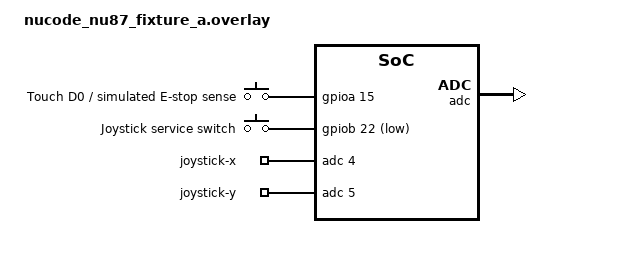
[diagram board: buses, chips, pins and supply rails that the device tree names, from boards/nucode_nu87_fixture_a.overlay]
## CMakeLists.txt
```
# SPDX-License-Identifier: Apache-2.0

cmake_minimum_required(VERSION 3.20.0)
find_package(Zephyr REQUIRED HINTS $ENV{ZEPHYR_BASE})
project(microwallaby_nu87_io_bringup)

target_include_directories(app PRIVATE include)

target_sources(app PRIVATE
  src/app_store.c
  src/behavior_sm.c
  src/diag_stats.c
  src/health_log.c
  src/indicator.c
  src/input_filter.c
  src/main.c
  src/safety_ctrl.c
  src/sensor_fast.c
)
```

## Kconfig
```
# SPDX-License-Identifier: Apache-2.0

mainmenu "microWallaby NU-87 I/O bring-up"

source "Kconfig.zephyr"

menu "microWallaby bring-up options"

choice MW_FIXTURE
	prompt "Connected hardware fixture"
	default MW_FIXTURE_COMBINED

config MW_FIXTURE_COMBINED
	bool "Touch D0 and joystick"
	help
	  Touch D0 is connected to PA15. Joystick VRX, VRY and SW are
	  connected to PB1/ADC4, PB2/ADC5 and PB22 respectively.

config MW_FIXTURE_TOUCH_ANALOG
	bool "Touch A0 characterization"
	help
	  Touch A0 is connected to PB1/ADC4 and D0 to PA15. Disconnect the
	  joystick before using this fixture.

endchoice

config MW_DEBOUNCE_SAMPLES
	int "Consecutive samples required for a digital input change"
	range 1 10
	default 3

config MW_ADC_RESOLUTION
	int "ADC resolution"
	range 12 12
	default 12

config MW_JOYSTICK_MIN
	int "Initial joystick minimum"
	range 0 4095
	default 0

config MW_JOYSTICK_CENTER
	int "Initial joystick center"
	range 1 4094
	default 2048

config MW_JOYSTICK_MAX
	int "Initial joystick maximum"
	range 1 4095
	default 4095

config MW_JOYSTICK_DEADZONE
	int "Initial joystick dead-zone in ADC counts"
	range 0 1024
	default 205

endmenu
```

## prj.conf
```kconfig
CONFIG_GPIO=y
CONFIG_ADC=y
CONFIG_PINCTRL=y

CONFIG_CONSOLE=y
CONFIG_SERIAL=y
CONFIG_UART_CONSOLE=y
CONFIG_PRINTK=y

CONFIG_LOG=y
CONFIG_LOG_MODE_DEFERRED=y
CONFIG_LOG_DEFAULT_LEVEL=3

CONFIG_THREAD_NAME=y
CONFIG_ASSERT=y
CONFIG_MAIN_STACK_SIZE=2048
CONFIG_SYSTEM_WORKQUEUE_STACK_SIZE=1024
```

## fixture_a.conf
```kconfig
CONFIG_MW_FIXTURE_COMBINED=y
```

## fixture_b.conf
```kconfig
CONFIG_MW_FIXTURE_TOUCH_ANALOG=y
```

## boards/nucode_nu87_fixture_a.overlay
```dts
/*
 * microWallaby fixture A: touch D0 + joystick
 *
 * SPDX-License-Identifier: Apache-2.0
 */

#include <zephyr/dt-bindings/gpio/gpio.h>
#include <zephyr/dt-bindings/input/input-event-codes.h>
#include <zephyr/dt-bindings/pinctrl/amebad-pinctrl.h>

/ {
	aliases {
		mw-touch-d0 = &mw_touch_d0;
		mw-joystick-sw = &mw_joystick_sw;
	};

	mw_inputs {
		compatible = "gpio-keys";
		polling-mode;

		/*
		 * GPIO_ACTIVE_HIGH is deliberately explicit. Characterize the module's
		 * raw D0 polarity before the acceptance run and change this flag to
		 * GPIO_ACTIVE_LOW when the measured module requires it.
		 */
		mw_touch_d0: touch_d0 {
			gpios = <&gpioa 15 GPIO_ACTIVE_HIGH>;
			label = "Touch D0 / simulated E-stop sense";
			zephyr,code = <INPUT_BTN_TOUCH>;
		};

		/* No external resistor is currently fitted: polling only. */
		mw_joystick_sw: joystick_sw {
			gpios = <&gpiob 22 (GPIO_PULL_UP | GPIO_ACTIVE_LOW)>;
			label = "Joystick service switch";
			zephyr,code = <INPUT_BTN_THUMBL>;
		};
	};

	zephyr,user {
		io-channels = <&adc 4>, <&adc 5>;
		io-channel-names = "joystick-x", "joystick-y";
	};
};

&pinctrl {
	mw_adc_default: mw_adc_default {
		group1 {
			pinmux = <AMEBA_PINMUX('B', 1, AMEBA_GPIO)>,
				 <AMEBA_PINMUX('B', 2, AMEBA_GPIO)>;
			digital-input-disable;
		};
	};
};

&adc {
	pinctrl-0 = <&mw_adc_default>;
	pinctrl-names = "default";
	status = "okay";
};
```

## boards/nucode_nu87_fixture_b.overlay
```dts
/*
 * microWallaby fixture B: touch A0 characterization
 *
 * SPDX-License-Identifier: Apache-2.0
 */

#include <zephyr/dt-bindings/gpio/gpio.h>
#include <zephyr/dt-bindings/input/input-event-codes.h>
#include <zephyr/dt-bindings/pinctrl/amebad-pinctrl.h>

/ {
	aliases {
		mw-touch-d0 = &mw_touch_d0;
	};

	mw_inputs {
		compatible = "gpio-keys";
		polling-mode;

		mw_touch_d0: touch_d0 {
			gpios = <&gpioa 15 GPIO_ACTIVE_HIGH>;
			label = "Touch D0 reference";
			zephyr,code = <INPUT_BTN_TOUCH>;
		};
	};

	zephyr,user {
		io-channels = <&adc 4>;
		io-channel-names = "touch-a0";
	};
};

&pinctrl {
	mw_adc_default: mw_adc_default {
		group1 {
			pinmux = <AMEBA_PINMUX('B', 1, AMEBA_GPIO)>;
			digital-input-disable;
		};
	};
};

&adc {
	pinctrl-0 = <&mw_adc_default>;
	pinctrl-names = "default";
	status = "okay";
};
```

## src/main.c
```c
/* SPDX-License-Identifier: Apache-2.0 */

#include <zephyr/kernel.h>
#include <zephyr/logging/log.h>

#include <microwallaby/app_store.h>
#include <microwallaby/behavior_sm.h>
#include <microwallaby/diag_stats.h>
#include <microwallaby/health_log.h>
#include <microwallaby/indicator.h>
#include <microwallaby/safety_ctrl.h>
#include <microwallaby/sensor_fast.h>

LOG_MODULE_REGISTER(mw_bringup, LOG_LEVEL_INF);

#define SENSOR_PERIOD_MS 10
#define SAFETY_PERIOD_MS 20
#define BEHAVIOR_PERIOD_MS 50
#define INDICATOR_PERIOD_MS 20
#define HEALTH_PERIOD_MS 1000

#define SENSOR_PRIORITY 3
#define SAFETY_PRIORITY 2
#define INDICATOR_PRIORITY 4
#define BEHAVIOR_PRIORITY 5
#define HEALTH_PRIORITY 7

#define WORKER_STACK_SIZE 2048

K_THREAD_STACK_DEFINE(sensor_stack, WORKER_STACK_SIZE);
K_THREAD_STACK_DEFINE(safety_stack, WORKER_STACK_SIZE);
K_THREAD_STACK_DEFINE(behavior_stack, WORKER_STACK_SIZE);
K_THREAD_STACK_DEFINE(indicator_stack, WORKER_STACK_SIZE);
K_THREAD_STACK_DEFINE(health_stack, WORKER_STACK_SIZE);

static struct k_thread sensor_thread_data;
static struct k_thread safety_thread_data;
static struct k_thread behavior_thread_data;
static struct k_thread indicator_thread_data;
static struct k_thread health_thread_data;
static struct mw_safety_ctrl safety_ctx;
static bool indicator_available;

static void sleep_periodic(int64_t *deadline_ms, int32_t period_ms)
{
	int64_t now_ms;

	*deadline_ms += period_ms;
	now_ms = k_uptime_get();
	if (now_ms > *deadline_ms) {
		mw_stats_increment(MW_STAT_DEADLINE_MISS);
		*deadline_ms = now_ms;
		return;
	}

	k_sleep(K_MSEC(*deadline_ms - now_ms));
}

static void sensor_thread(void *unused1, void *unused2, void *unused3)
{
	int64_t deadline_ms = k_uptime_get();

	ARG_UNUSED(unused1);
	ARG_UNUSED(unused2);
	ARG_UNUSED(unused3);

	while (true) {
		struct mw_input_snapshot input;

		if (mw_sensor_fast_sample(&input) < 0) {
			input.input_ok = false;
		}
		mw_store_publish_input(&input);
		mw_stats_increment(MW_STAT_SENSOR_TICK);
		sleep_periodic(&deadline_ms, SENSOR_PERIOD_MS);
	}
}

static void safety_thread(void *unused1, void *unused2, void *unused3)
{
	int64_t deadline_ms = k_uptime_get();

	ARG_UNUSED(unused1);
	ARG_UNUSED(unused2);
	ARG_UNUSED(unused3);

	while (true) {
		struct mw_input_snapshot input = {0};
		struct mw_control_snapshot control;

		if (!mw_store_read_input(&input)) {
			input.input_ok = false;
		}
		control = mw_safety_ctrl_step(&safety_ctx, &input, k_uptime_get());
		mw_store_publish_control(&control);
		mw_stats_increment(MW_STAT_SAFETY_TICK);
		sleep_periodic(&deadline_ms, SAFETY_PERIOD_MS);
	}
}

static void behavior_thread(void *unused1, void *unused2, void *unused3)
{
	struct mw_behavior_sm behavior;
	int64_t deadline_ms = k_uptime_get();

	ARG_UNUSED(unused1);
	ARG_UNUSED(unused2);
	ARG_UNUSED(unused3);
	mw_behavior_sm_init(&behavior);

	while (true) {
		struct mw_control_snapshot control = {
			.fault = MW_FAULT_INPUT_UNAVAILABLE,
			.fault_latched = true,
		};
		enum mw_robot_state state;

		(void)mw_store_read_control(&control);
		state = mw_behavior_sm_step(&behavior, &control);
		mw_store_publish_state(state);
		mw_stats_increment(MW_STAT_BEHAVIOR_TICK);
		sleep_periodic(&deadline_ms, BEHAVIOR_PERIOD_MS);
	}
}

static void indicator_thread(void *unused1, void *unused2, void *unused3)
{
	int64_t deadline_ms = k_uptime_get();

	ARG_UNUSED(unused1);
	ARG_UNUSED(unused2);
	ARG_UNUSED(unused3);

	while (true) {
		struct mw_control_snapshot control = {
			.fault = MW_FAULT_INPUT_UNAVAILABLE,
			.fault_latched = true,
		};
		enum mw_robot_state state = mw_store_read_state();

		if (!mw_store_read_control(&control) || control.fault_latched) {
			state = MW_STATE_FAULT;
		}
		if (indicator_available && mw_indicator_apply(state) < 0) {
			mw_stats_increment(MW_STAT_GPIO_ERROR);
			indicator_available = false;
		}
		sleep_periodic(&deadline_ms, INDICATOR_PERIOD_MS);
	}
}

static void health_thread(void *unused1, void *unused2, void *unused3)
{
	int64_t deadline_ms = k_uptime_get();

	ARG_UNUSED(unused1);
	ARG_UNUSED(unused2);
	ARG_UNUSED(unused3);

	while (true) {
		struct mw_input_snapshot input = {0};
		struct mw_control_snapshot control = {0};
		struct mw_runtime_stats stats = mw_stats_snapshot();

		(void)mw_store_read_input(&input);
		(void)mw_store_read_control(&control);
		mw_health_log_report(&input, &control, mw_store_read_state(), &stats);
		sleep_periodic(&deadline_ms, HEALTH_PERIOD_MS);
	}
}

int main(void)
{
	struct mw_input_snapshot initial_input;
	struct mw_control_snapshot initial_control;
	int ret;

	LOG_INF("microWallaby NU-87 I/O bring-up starting");
	ret = mw_sensor_fast_init();
	if (ret < 0) {
		LOG_ERR("Input initialization failed: %d", ret);
	}

	/* Evaluate and publish a fail-closed input before any cosmetic self-test. */
	if (mw_sensor_fast_sample(&initial_input) < 0) {
		initial_input.input_ok = false;
	}
	mw_store_publish_input(&initial_input);
	mw_safety_ctrl_init(&safety_ctx);
	initial_control = mw_safety_ctrl_step(&safety_ctx, &initial_input, k_uptime_get());
	mw_store_publish_control(&initial_control);

	ret = mw_indicator_init();
	if (ret < 0) {
		LOG_ERR("RGB initialization failed; monitoring will continue: %d", ret);
		mw_stats_increment(MW_STAT_GPIO_ERROR);
	} else {
		indicator_available = true;
		ret = initial_control.fault_latched ? mw_indicator_apply(MW_STATE_FAULT) :
						      mw_indicator_self_test();
		if (ret < 0) {
			LOG_ERR("RGB startup indication failed; monitoring will continue: %d", ret);
			mw_stats_increment(MW_STAT_GPIO_ERROR);
			indicator_available = false;
		}
	}

	/* Refresh the snapshot after the blocking RGB test before periodic work starts. */
	if (mw_sensor_fast_sample(&initial_input) < 0) {
		initial_input.input_ok = false;
	}
	mw_store_publish_input(&initial_input);
	initial_control = mw_safety_ctrl_step(&safety_ctx, &initial_input, k_uptime_get());
	mw_store_publish_control(&initial_control);
	if (indicator_available && initial_control.fault_latched &&
	    mw_indicator_apply(MW_STATE_FAULT) < 0) {
		LOG_ERR("RGB fault indication failed; monitoring will continue");
		mw_stats_increment(MW_STAT_GPIO_ERROR);
		indicator_available = false;
	}

	/* Arm formal measurement windows immediately before periodic sampling. */
	if (initial_input.input_ok) {
		mw_diag_stats_init(initial_input.profile, k_uptime_get());
	}

	k_thread_create(&sensor_thread_data, sensor_stack,
			K_THREAD_STACK_SIZEOF(sensor_stack), sensor_thread,
			NULL, NULL, NULL, SENSOR_PRIORITY, 0, K_NO_WAIT);
	k_thread_name_set(&sensor_thread_data, "sensor_fast");

	k_thread_create(&safety_thread_data, safety_stack,
			K_THREAD_STACK_SIZEOF(safety_stack), safety_thread,
			NULL, NULL, NULL, SAFETY_PRIORITY, 0, K_NO_WAIT);
	k_thread_name_set(&safety_thread_data, "safety_ctrl");

	k_thread_create(&behavior_thread_data, behavior_stack,
			K_THREAD_STACK_SIZEOF(behavior_stack), behavior_thread,
			NULL, NULL, NULL, BEHAVIOR_PRIORITY, 0, K_NO_WAIT);
	k_thread_name_set(&behavior_thread_data, "behavior_sm");

	k_thread_create(&indicator_thread_data, indicator_stack,
			K_THREAD_STACK_SIZEOF(indicator_stack), indicator_thread,
			NULL, NULL, NULL, INDICATOR_PRIORITY, 0, K_NO_WAIT);
	k_thread_name_set(&indicator_thread_data, "indicator");

	k_thread_create(&health_thread_data, health_stack,
			K_THREAD_STACK_SIZEOF(health_stack), health_thread,
			NULL, NULL, NULL, HEALTH_PRIORITY, 0, K_NO_WAIT);
	k_thread_name_set(&health_thread_data, "health_log");

	return 0;
}
```

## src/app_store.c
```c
/* SPDX-License-Identifier: Apache-2.0 */

#include <zephyr/kernel.h>
#include <zephyr/sys/atomic.h>

#include <microwallaby/app_store.h>

K_MUTEX_DEFINE(input_lock);
K_MUTEX_DEFINE(control_lock);

static struct mw_input_snapshot latest_input;
static struct mw_control_snapshot latest_control;
static bool input_ready;
static bool control_ready;
static atomic_t current_state;
static atomic_t counters[MW_STAT_COUNT];

void mw_store_publish_input(const struct mw_input_snapshot *input)
{
	k_mutex_lock(&input_lock, K_FOREVER);
	latest_input = *input;
	input_ready = true;
	k_mutex_unlock(&input_lock);
}

bool mw_store_read_input(struct mw_input_snapshot *input)
{
	bool ready;

	k_mutex_lock(&input_lock, K_FOREVER);
	*input = latest_input;
	ready = input_ready;
	k_mutex_unlock(&input_lock);
	return ready;
}

void mw_store_publish_control(const struct mw_control_snapshot *control)
{
	k_mutex_lock(&control_lock, K_FOREVER);
	latest_control = *control;
	control_ready = true;
	k_mutex_unlock(&control_lock);
}

bool mw_store_read_control(struct mw_control_snapshot *control)
{
	bool ready;

	k_mutex_lock(&control_lock, K_FOREVER);
	*control = latest_control;
	ready = control_ready;
	k_mutex_unlock(&control_lock);
	return ready;
}

void mw_store_publish_state(enum mw_robot_state state)
{
	atomic_set(&current_state, state);
}

enum mw_robot_state mw_store_read_state(void)
{
	return (enum mw_robot_state)atomic_get(&current_state);
}

void mw_stats_increment(enum mw_stat_id id)
{
	if (id < MW_STAT_COUNT) {
		atomic_inc(&counters[id]);
	}
}

struct mw_runtime_stats mw_stats_snapshot(void)
{
	return (struct mw_runtime_stats){
		.sensor_ticks = (uint32_t)atomic_get(&counters[MW_STAT_SENSOR_TICK]),
		.safety_ticks = (uint32_t)atomic_get(&counters[MW_STAT_SAFETY_TICK]),
		.behavior_ticks = (uint32_t)atomic_get(&counters[MW_STAT_BEHAVIOR_TICK]),
		.adc_errors = (uint32_t)atomic_get(&counters[MW_STAT_ADC_ERROR]),
		.gpio_errors = (uint32_t)atomic_get(&counters[MW_STAT_GPIO_ERROR]),
		.deadline_misses = (uint32_t)atomic_get(&counters[MW_STAT_DEADLINE_MISS]),
	};
}
```

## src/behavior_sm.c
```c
/* SPDX-License-Identifier: Apache-2.0 */

#include <microwallaby/behavior_sm.h>

void mw_behavior_sm_init(struct mw_behavior_sm *ctx)
{
	ctx->state = MW_STATE_BOOT;
}
enum mw_robot_state mw_behavior_sm_step(struct mw_behavior_sm *ctx,
						const struct mw_control_snapshot *control)
{
	if (control->fault_latched) {
		ctx->state = MW_STATE_FAULT;
		return ctx->state;
	}

	switch (ctx->state) {
	case MW_STATE_BOOT:
		ctx->state = MW_STATE_SELF_TEST;
		break;
	case MW_STATE_SELF_TEST:
	case MW_STATE_FAULT:
		ctx->state = MW_STATE_SAFE_IDLE;
		break;
	case MW_STATE_SAFE_IDLE:
	case MW_STATE_MANUAL_EMU:
		ctx->state = control->manual_requested ? MW_STATE_MANUAL_EMU :
								 MW_STATE_SAFE_IDLE;
		break;
	default:
		ctx->state = MW_STATE_FAULT;
		break;
	}

	return ctx->state;
}

const char *mw_state_name(enum mw_robot_state state)
{
	switch (state) {
	case MW_STATE_BOOT:
		return "BOOT";
	case MW_STATE_SELF_TEST:
		return "SELF_TEST";
	case MW_STATE_SAFE_IDLE:
		return "SAFE_IDLE";
	case MW_STATE_MANUAL_EMU:
		return "MANUAL_EMU";
	case MW_STATE_FAULT:
		return "FAULT";
	default:
		return "UNKNOWN";
	}
}
```

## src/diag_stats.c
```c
/* SPDX-License-Identifier: Apache-2.0 */

#include <limits.h>
#include <stddef.h>
#include <string.h>

#include <zephyr/kernel.h>
#include <zephyr/sys/util.h>

#include <microwallaby/diag_stats.h>

struct digital_accumulator {
	uint32_t transitions;
	uint32_t assertions;
	uint32_t releases;
	uint32_t max_inactive_ms;
	int64_t inactive_since_ms;
	bool active;
	bool observed;
};

/* Welford mean and M2 use eight fractional bits; no floating point is needed. */
struct axis_accumulator {
	uint32_t samples;
	uint16_t minimum;
	uint16_t maximum;
	int64_t mean_q8;
	uint64_t m2_q8;
};

struct diag_accumulator {
	enum mw_fixture_profile profile;
	uint32_t sample_attempts;
	uint32_t sample_successes;
	uint32_t input_errors;
	uint32_t adc_errors;
	uint32_t gpio_errors;
	struct digital_accumulator touch;
	struct digital_accumulator service_switch;
	struct axis_accumulator axis_primary;
	struct axis_accumulator axis_secondary;
	struct axis_accumulator center_primary;
	struct axis_accumulator center_secondary;
	int64_t center_started_ms;
	bool center_complete;
	int64_t boot_idle_started_ms;
	uint32_t boot_idle_touch_assertions;
	uint32_t boot_idle_switch_assertions;
	enum mw_diag_a0_phase a0_phase;
	uint16_t a0_progress;
	int64_t a0_started_ms;
	struct mw_diag_a0_window_stats a0_idle;
	struct mw_diag_a0_window_stats a0_touched;
	bool a0_processing;
};

static struct k_spinlock diag_lock;
static struct diag_accumulator diag;
static uint16_t a0_samples[MW_DIAG_A0_WINDOW_SAMPLES];

static void increment_saturated(uint32_t *value)
{
	if (*value < UINT32_MAX) {
		(*value)++;
	}
}

static uint32_t elapsed_ms(int64_t start_ms, int64_t now_ms)
{
	uint64_t elapsed;

	if (start_ms < 0 || now_ms <= start_ms) {
		return 0U;
	}

	elapsed = (uint64_t)(now_ms - start_ms);
	return elapsed > UINT32_MAX ? UINT32_MAX : (uint32_t)elapsed;
}

static void update_digital(struct digital_accumulator *accumulator, bool active,
			   bool changed, int64_t now_ms)
{
	if (!accumulator->observed) {
		accumulator->observed = true;
		accumulator->active = active;
		accumulator->inactive_since_ms = active ? -1 : now_ms;
		return;
	}

	if (!changed) {
		return;
	}

	increment_saturated(&accumulator->transitions);
	accumulator->active = active;
	if (active) {
		uint32_t idle_ms = elapsed_ms(accumulator->inactive_since_ms, now_ms);

		increment_saturated(&accumulator->assertions);
		if (idle_ms > accumulator->max_inactive_ms) {
			accumulator->max_inactive_ms = idle_ms;
		}
		accumulator->inactive_since_ms = -1;
	} else {
		increment_saturated(&accumulator->releases);
		accumulator->inactive_since_ms = now_ms;
	}
}

static void update_axis(struct axis_accumulator *axis, uint16_t value)
{
	int64_t sample_q8 = (int64_t)value << 8;

	if (axis->samples == 0U) {
		axis->samples = 1U;
		axis->minimum = value;
		axis->maximum = value;
		axis->mean_q8 = sample_q8;
		return;
	}

	if (value < axis->minimum) {
		axis->minimum = value;
	}
	if (value > axis->maximum) {
		axis->maximum = value;
	}

	if (axis->samples < UINT32_MAX) {
		uint32_t count = axis->samples + 1U;
		int64_t delta_q8 = sample_q8 - axis->mean_q8;
		int64_t delta2_q8;
		uint64_t term_q8;

		axis->mean_q8 += delta_q8 / (int64_t)count;
		delta2_q8 = sample_q8 - axis->mean_q8;
		term_q8 = (uint64_t)((delta_q8 * delta2_q8) >> 8);
		if (UINT64_MAX - axis->m2_q8 < term_q8) {
			axis->m2_q8 = UINT64_MAX;
		} else {
			axis->m2_q8 += term_q8;
		}
		axis->samples = count;
	}
}

static uint32_t integer_sqrt(uint64_t value)
{
	uint64_t result = 0U;
	uint64_t bit = 1ULL << 62;

	while (bit > value) {
		bit >>= 2;
	}

	while (bit != 0U) {
		if (value >= result + bit) {
			value -= result + bit;
			result = (result >> 1) + bit;
		} else {
			result >>= 1;
		}
		bit >>= 2;
	}

	return result > UINT32_MAX ? UINT32_MAX : (uint32_t)result;
}

static struct mw_diag_axis_stats axis_snapshot(const struct axis_accumulator *axis)
{
	struct mw_diag_axis_stats result = {
		.samples = axis->samples,
	};

	if (axis->samples == 0U) {
		return result;
	}

	result.minimum = axis->minimum;
	result.maximum = axis->maximum;
	result.mean = (uint16_t)((axis->mean_q8 + 128) >> 8);
	if (axis->samples > 1U) {
		uint64_t variance_q8 = axis->m2_q8 / (axis->samples - 1U);
		uint64_t variance = (variance_q8 + 128U) >> 8;
		uint32_t stddev = integer_sqrt(variance);

		result.noise_stddev = (uint16_t)MIN(stddev, UINT16_MAX);
	}

	return result;
}

static void swap_u16(uint16_t *left, uint16_t *right)
{
	uint16_t value = *left;

	*left = *right;
	*right = value;
}

static void heap_sift_down(uint16_t *values, size_t root, size_t end)
{
	while ((root * 2U) + 1U < end) {
		size_t child = (root * 2U) + 1U;

		if (child + 1U < end && values[child] < values[child + 1U]) {
			child++;
		}
		if (values[root] >= values[child]) {
			return;
		}
		swap_u16(&values[root], &values[child]);
		root = child;
	}
}

static void heap_sort_u16(uint16_t *values, size_t count)
{
	for (size_t root = count / 2U; root > 0U;) {
		root--;
		heap_sift_down(values, root, count);
	}

	for (size_t end = count; end > 1U;) {
		end--;
		swap_u16(&values[0], &values[end]);
		heap_sift_down(values, 0U, end);
	}
}

static void record_a0_sample(uint16_t value, bool touch_active, int64_t now_ms)
{
	enum mw_diag_a0_phase completed_phase = MW_DIAG_A0_DISABLED;
	uint32_t span_ms = 0U;
	k_spinlock_key_t key = k_spin_lock(&diag_lock);
	bool expected_active = diag.a0_phase == MW_DIAG_A0_TOUCHED;

	if ((diag.a0_phase != MW_DIAG_A0_IDLE &&
	     diag.a0_phase != MW_DIAG_A0_TOUCHED) || diag.a0_processing) {
		k_spin_unlock(&diag_lock, key);
		return;
	}

	if (touch_active != expected_active) {
		diag.a0_progress = 0U;
		diag.a0_started_ms = -1;
		k_spin_unlock(&diag_lock, key);
		return;
	}

	if (diag.a0_progress == 0U) {
		diag.a0_started_ms = now_ms;
	}
	if (diag.a0_progress < MW_DIAG_A0_WINDOW_SAMPLES) {
		a0_samples[diag.a0_progress++] = value;
	}

	span_ms = elapsed_ms(diag.a0_started_ms, now_ms);
	if (diag.a0_progress == MW_DIAG_A0_WINDOW_SAMPLES && span_ms >= 5000U) {
		completed_phase = diag.a0_phase;
		diag.a0_processing = true;
	}
	k_spin_unlock(&diag_lock, key);

	if (completed_phase == MW_DIAG_A0_DISABLED) {
		return;
	}

	/* One bounded sort per idle/touched window, outside the spin lock. */
	heap_sort_u16(a0_samples, MW_DIAG_A0_WINDOW_SAMPLES);
	struct mw_diag_a0_window_stats result = {
		.samples = MW_DIAG_A0_WINDOW_SAMPLES,
		.span_ms = span_ms,
		.minimum = a0_samples[0],
		.median = (uint16_t)(((uint32_t)a0_samples[249] + a0_samples[250]) / 2U),
		.maximum = a0_samples[MW_DIAG_A0_WINDOW_SAMPLES - 1U],
		.complete = true,
	};

	key = k_spin_lock(&diag_lock);
	if (completed_phase == MW_DIAG_A0_IDLE) {
		diag.a0_idle = result;
		diag.a0_phase = MW_DIAG_A0_TOUCHED;
	} else {
		diag.a0_touched = result;
		diag.a0_phase = MW_DIAG_A0_COMPLETE;
	}
	diag.a0_progress = 0U;
	diag.a0_started_ms = -1;
	diag.a0_processing = false;
	k_spin_unlock(&diag_lock, key);
}

void mw_diag_stats_init(enum mw_fixture_profile profile, int64_t now_ms)
{
	k_spinlock_key_t key = k_spin_lock(&diag_lock);

	memset(&diag, 0, sizeof(diag));
	diag.profile = profile;
	diag.boot_idle_started_ms = now_ms;
	diag.center_started_ms = -1;
	diag.touch.inactive_since_ms = -1;
	diag.service_switch.inactive_since_ms = -1;
	diag.a0_started_ms = -1;
	diag.a0_phase = profile == MW_FIXTURE_TOUCH_ANALOG ? MW_DIAG_A0_IDLE
								     : MW_DIAG_A0_DISABLED;
	k_spin_unlock(&diag_lock, key);
}

void mw_diag_stats_record_sample_attempt(void)
{
	k_spinlock_key_t key = k_spin_lock(&diag_lock);

	increment_saturated(&diag.sample_attempts);
	k_spin_unlock(&diag_lock, key);
}

void mw_diag_stats_record_sample_success(void)
{
	k_spinlock_key_t key = k_spin_lock(&diag_lock);

	increment_saturated(&diag.sample_successes);
	k_spin_unlock(&diag_lock, key);
}

void mw_diag_stats_record_error(enum mw_diag_error_source source)
{
	k_spinlock_key_t key = k_spin_lock(&diag_lock);

	increment_saturated(&diag.input_errors);
	if (source == MW_DIAG_ERROR_ADC) {
		increment_saturated(&diag.adc_errors);
	} else if (source == MW_DIAG_ERROR_GPIO) {
		increment_saturated(&diag.gpio_errors);
	}
	k_spin_unlock(&diag_lock, key);
}

void mw_diag_stats_record_touch(bool active, bool changed, int64_t now_ms)
{
	k_spinlock_key_t key = k_spin_lock(&diag_lock);
	bool first_active = !diag.touch.observed && active;

	update_digital(&diag.touch, active, changed, now_ms);
	if (diag.profile == MW_FIXTURE_COMBINED &&
	    elapsed_ms(diag.boot_idle_started_ms, now_ms) < MW_DIAG_BOOT_IDLE_MS &&
	    (first_active || (changed && active))) {
		increment_saturated(&diag.boot_idle_touch_assertions);
	}
	k_spin_unlock(&diag_lock, key);
}

void mw_diag_stats_record_service_switch(bool active, bool changed, int64_t now_ms)
{
	k_spinlock_key_t key = k_spin_lock(&diag_lock);
	bool first_active = !diag.service_switch.observed && active;

	update_digital(&diag.service_switch, active, changed, now_ms);
	if (diag.profile == MW_FIXTURE_COMBINED &&
	    elapsed_ms(diag.boot_idle_started_ms, now_ms) < MW_DIAG_BOOT_IDLE_MS &&
	    (first_active || (changed && active))) {
		increment_saturated(&diag.boot_idle_switch_assertions);
	}
	k_spin_unlock(&diag_lock, key);
}

void mw_diag_stats_record_adc(enum mw_diag_adc_channel channel, uint16_t value,
			      bool touch_active, int64_t now_ms)
{
	k_spinlock_key_t key = k_spin_lock(&diag_lock);
	bool record_a0 = diag.profile == MW_FIXTURE_TOUCH_ANALOG &&
			 channel == MW_DIAG_ADC_PRIMARY;
	struct axis_accumulator *center_axis = channel == MW_DIAG_ADC_PRIMARY ?
		&diag.center_primary : &diag.center_secondary;

	if (channel == MW_DIAG_ADC_PRIMARY) {
		update_axis(&diag.axis_primary, value);
	} else {
		update_axis(&diag.axis_secondary, value);
	}

	/* Freeze the first five-second neutral window before any stick sweep. */
	if (diag.profile == MW_FIXTURE_COMBINED && !diag.center_complete) {
		if (diag.center_started_ms < 0) {
			diag.center_started_ms = now_ms;
		}
		if (center_axis->samples < MW_DIAG_CENTER_WINDOW_SAMPLES) {
			update_axis(center_axis, value);
		}
		if (diag.center_primary.samples == MW_DIAG_CENTER_WINDOW_SAMPLES &&
		    diag.center_secondary.samples == MW_DIAG_CENTER_WINDOW_SAMPLES &&
		    elapsed_ms(diag.center_started_ms, now_ms) >=
			    MW_DIAG_CENTER_WINDOW_MS) {
			diag.center_complete = true;
		}
	}
	k_spin_unlock(&diag_lock, key);

	if (record_a0) {
		record_a0_sample(value, touch_active, now_ms);
	}
}

void mw_diag_stats_snapshot(struct mw_diag_snapshot *snapshot, int64_t now_ms)
{
	k_spinlock_key_t key = k_spin_lock(&diag_lock);
	uint32_t touch_inactive_ms = diag.touch.active ? 0U :
		elapsed_ms(diag.touch.inactive_since_ms, now_ms);
	uint32_t switch_inactive_ms = diag.service_switch.active ? 0U :
		elapsed_ms(diag.service_switch.inactive_since_ms, now_ms);
	uint32_t boot_idle_elapsed_ms = elapsed_ms(diag.boot_idle_started_ms, now_ms);
	uint32_t center_elapsed_ms = elapsed_ms(diag.center_started_ms, now_ms);

	*snapshot = (struct mw_diag_snapshot){
		.sample_attempts = diag.sample_attempts,
		.sample_successes = diag.sample_successes,
		.input_errors = diag.input_errors,
		.adc_errors = diag.adc_errors,
		.gpio_errors = diag.gpio_errors,
		.touch = {
			.transitions = diag.touch.transitions,
			.assertions = diag.touch.assertions,
			.releases = diag.touch.releases,
			.inactive_ms = touch_inactive_ms,
			.max_inactive_ms = MAX(diag.touch.max_inactive_ms,
					       touch_inactive_ms),
			.active = diag.touch.active,
			.observed = diag.touch.observed,
		},
		.service_switch = {
			.transitions = diag.service_switch.transitions,
			.assertions = diag.service_switch.assertions,
			.releases = diag.service_switch.releases,
			.inactive_ms = switch_inactive_ms,
			.max_inactive_ms = MAX(diag.service_switch.max_inactive_ms,
					       switch_inactive_ms),
			.active = diag.service_switch.active,
			.observed = diag.service_switch.observed,
		},
		.axis_primary = axis_snapshot(&diag.axis_primary),
		.axis_secondary = axis_snapshot(&diag.axis_secondary),
		.center_primary = axis_snapshot(&diag.center_primary),
		.center_secondary = axis_snapshot(&diag.center_secondary),
		.center_elapsed_ms = MIN(center_elapsed_ms, MW_DIAG_CENTER_WINDOW_MS),
		.center_complete = diag.center_complete,
		.boot_idle_elapsed_ms = MIN(boot_idle_elapsed_ms, MW_DIAG_BOOT_IDLE_MS),
		.boot_idle_touch_assertions = diag.boot_idle_touch_assertions,
		.boot_idle_switch_assertions = diag.boot_idle_switch_assertions,
		.boot_idle_complete = diag.profile == MW_FIXTURE_COMBINED &&
			boot_idle_elapsed_ms >= MW_DIAG_BOOT_IDLE_MS &&
			diag.touch.observed && diag.service_switch.observed,
		.a0_phase = diag.a0_phase,
		.a0_progress = diag.a0_progress,
		.a0_idle = diag.a0_idle,
		.a0_touched = diag.a0_touched,
	};
	k_spin_unlock(&diag_lock, key);
}

const char *mw_diag_a0_phase_name(enum mw_diag_a0_phase phase)
{
	switch (phase) {
	case MW_DIAG_A0_IDLE:
		return "idle";
	case MW_DIAG_A0_TOUCHED:
		return "touched";
	case MW_DIAG_A0_COMPLETE:
		return "complete";
	default:
		return "disabled";
	}
}
```

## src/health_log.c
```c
/* SPDX-License-Identifier: Apache-2.0 */

#include <zephyr/logging/log.h>
#include <zephyr/kernel.h>

#include <microwallaby/behavior_sm.h>
#include <microwallaby/diag_stats.h>
#include <microwallaby/health_log.h>
#include <microwallaby/safety_ctrl.h>
#include <microwallaby/sensor_fast.h>

LOG_MODULE_DECLARE(mw_bringup);

void mw_health_log_report(const struct mw_input_snapshot *input,
				  const struct mw_control_snapshot *control,
				  enum mw_robot_state state,
				  const struct mw_runtime_stats *stats)
{
	struct mw_diag_snapshot diag;

	mw_diag_stats_snapshot(&diag, k_uptime_get());
	LOG_INF("profile=%s seq=%u adc=%u,%u joy=%d,%d raw_d0=%u raw_sw=%u touch=%u sw=%u "
		"state=%s fault=%s fresh=%u clear_ms=%u",
		mw_fixture_name(input->profile), input->sequence,
		(unsigned int)input->analog_primary,
		(unsigned int)input->analog_secondary,
		input->joystick_x_permille, input->joystick_y_permille,
		(unsigned int)input->touch_raw_level,
		(unsigned int)input->service_raw_level,
		(unsigned int)input->touch_active,
		(unsigned int)input->service_pressed,
		mw_state_name(state), mw_fault_name(control->fault),
		(unsigned int)control->input_fresh,
		(unsigned int)control->clear_hold_ms);

	LOG_INF("ticks=%u/%u/%u errors=adc:%u gpio:%u deadline:%u "
		"diag=ok:%u/%u input:%u adc:%u gpio:%u",
		stats->sensor_ticks, stats->safety_ticks, stats->behavior_ticks,
		stats->adc_errors, stats->gpio_errors, stats->deadline_misses,
		diag.sample_successes, diag.sample_attempts, diag.input_errors,
		diag.adc_errors, diag.gpio_errors);

#if defined(CONFIG_MW_FIXTURE_COMBINED)
	LOG_INF("diag_dig touch=tr:%u/a:%u/idle:%u sw=tr:%u/a:%u/idle:%u "
		"boot_idle=%u/%u done=%u false=%u/%u",
		diag.touch.transitions, diag.touch.assertions, diag.touch.inactive_ms,
		diag.service_switch.transitions, diag.service_switch.assertions,
		diag.service_switch.inactive_ms, diag.boot_idle_elapsed_ms,
		MW_DIAG_BOOT_IDLE_MS, (unsigned int)diag.boot_idle_complete,
		diag.boot_idle_touch_assertions, diag.boot_idle_switch_assertions);

	LOG_INF("diag_adc vrx=n:%u range:%u..%u mean:%u sd:%u "
		"vry=n:%u range:%u..%u mean:%u sd:%u",
		diag.axis_primary.samples, (unsigned int)diag.axis_primary.minimum,
		(unsigned int)diag.axis_primary.maximum,
		(unsigned int)diag.axis_primary.mean,
		(unsigned int)diag.axis_primary.noise_stddev,
		diag.axis_secondary.samples, (unsigned int)diag.axis_secondary.minimum,
		(unsigned int)diag.axis_secondary.maximum,
		(unsigned int)diag.axis_secondary.mean,
		(unsigned int)diag.axis_secondary.noise_stddev);

	LOG_INF("diag_center done=%u elapsed=%u/%u "
		"vrx=n:%u range:%u..%u sd:%u vry=n:%u range:%u..%u sd:%u",
		(unsigned int)diag.center_complete, diag.center_elapsed_ms,
		MW_DIAG_CENTER_WINDOW_MS, diag.center_primary.samples,
		(unsigned int)diag.center_primary.minimum,
		(unsigned int)diag.center_primary.maximum,
		(unsigned int)diag.center_primary.noise_stddev,
		diag.center_secondary.samples,
		(unsigned int)diag.center_secondary.minimum,
		(unsigned int)diag.center_secondary.maximum,
		(unsigned int)diag.center_secondary.noise_stddev);
#else
	LOG_INF("diag_dig touch=tr:%u/a:%u/r:%u idle:%u max_idle:%u samples=%u/%u",
		diag.touch.transitions, diag.touch.assertions, diag.touch.releases,
		diag.touch.inactive_ms, diag.touch.max_inactive_ms,
		diag.sample_successes, diag.sample_attempts);

	LOG_INF("diag_a0 phase=%s progress=%u/%u "
		"idle=%u:%u/%u/%u@%ums touched=%u:%u/%u/%u@%ums",
		mw_diag_a0_phase_name(diag.a0_phase), (unsigned int)diag.a0_progress,
		MW_DIAG_A0_WINDOW_SAMPLES, (unsigned int)diag.a0_idle.complete,
		(unsigned int)diag.a0_idle.minimum, (unsigned int)diag.a0_idle.median,
		(unsigned int)diag.a0_idle.maximum, diag.a0_idle.span_ms,
		(unsigned int)diag.a0_touched.complete,
		(unsigned int)diag.a0_touched.minimum,
		(unsigned int)diag.a0_touched.median,
		(unsigned int)diag.a0_touched.maximum, diag.a0_touched.span_ms);
#endif
}
```

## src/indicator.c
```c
/* SPDX-License-Identifier: Apache-2.0 */

#include <errno.h>

#include <zephyr/devicetree.h>
#include <zephyr/drivers/gpio.h>
#include <zephyr/kernel.h>

#include <microwallaby/indicator.h>

static const struct gpio_dt_spec led_red = GPIO_DT_SPEC_GET(DT_ALIAS(led0), gpios);
static const struct gpio_dt_spec led_green = GPIO_DT_SPEC_GET(DT_ALIAS(led1), gpios);
static const struct gpio_dt_spec led_blue = GPIO_DT_SPEC_GET(DT_ALIAS(led2), gpios);

static int set_rgb(bool red, bool green, bool blue)
{
	int ret = gpio_pin_set_dt(&led_red, red);

	ret = ret < 0 ? ret : gpio_pin_set_dt(&led_green, green);
	ret = ret < 0 ? ret : gpio_pin_set_dt(&led_blue, blue);
	return ret;
}
int mw_indicator_init(void)
{
	if (!gpio_is_ready_dt(&led_red) || !gpio_is_ready_dt(&led_green) ||
	    !gpio_is_ready_dt(&led_blue)) {
		return -ENODEV;
	}

	int ret = gpio_pin_configure_dt(&led_red, GPIO_OUTPUT_INACTIVE);

	ret = ret < 0 ? ret : gpio_pin_configure_dt(&led_green, GPIO_OUTPUT_INACTIVE);
	ret = ret < 0 ? ret : gpio_pin_configure_dt(&led_blue, GPIO_OUTPUT_INACTIVE);
	return ret;
}

int mw_indicator_self_test(void)
{
	int ret = set_rgb(true, false, false);

	if (ret < 0) {
		return ret;
	}
	k_sleep(K_MSEC(150));
	ret = set_rgb(false, true, false);
	if (ret < 0) {
		return ret;
	}
	k_sleep(K_MSEC(150));
	ret = set_rgb(false, false, true);
	if (ret < 0) {
		return ret;
	}
	k_sleep(K_MSEC(150));
	return set_rgb(false, false, false);
}

int mw_indicator_apply(enum mw_robot_state state)
{
	switch (state) {
	case MW_STATE_FAULT:
		return set_rgb(true, false, false);
	case MW_STATE_MANUAL_EMU:
		return set_rgb(false, false, true);
	case MW_STATE_SAFE_IDLE:
		return set_rgb(false, true, false);
	case MW_STATE_BOOT:
	case MW_STATE_SELF_TEST:
	default:
		return set_rgb(false, false, false);
	}
}
```

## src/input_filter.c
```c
/* SPDX-License-Identifier: Apache-2.0 */

#include <microwallaby/input_filter.h>

static int16_t clamp_permille(int32_t value)
{
	if (value > 1000) {
		return 1000;
	}
	if (value < -1000) {
		return -1000;
	}
	return (int16_t)value;
}
bool mw_debounce_update(struct mw_debounce *filter, bool raw,
			uint8_t required_samples, bool *changed)
{
	*changed = false;
	if (!filter->initialized) {
		filter->initialized = true;
		filter->stable = raw;
		filter->candidate = raw;
		filter->consecutive = 0;
		return filter->stable;
	}

	if (raw == filter->stable) {
		filter->candidate = raw;
		filter->consecutive = 0;
		return filter->stable;
	}

	if (raw != filter->candidate) {
		filter->candidate = raw;
		filter->consecutive = 1;
	} else if (filter->consecutive < UINT8_MAX) {
		filter->consecutive++;
	}

	if (filter->consecutive >= required_samples) {
		filter->stable = filter->candidate;
		filter->consecutive = 0;
		*changed = true;
	}

	return filter->stable;
}

int16_t mw_axis_normalize(uint16_t raw, uint16_t minimum, uint16_t center,
			  uint16_t maximum, uint16_t deadzone)
{
	uint32_t upper_start = (uint32_t)center + deadzone;
	int32_t lower_start = (int32_t)center - deadzone;

	if (minimum >= center || center >= maximum) {
		return 0;
	}

	if (raw > upper_start) {
		uint32_t span = maximum > upper_start ? maximum - upper_start : 1U;
		return clamp_permille(((int32_t)raw - (int32_t)upper_start) * 1000 /
				       (int32_t)span);
	}

	if ((int32_t)raw < lower_start) {
		uint32_t span = lower_start > minimum ? (uint32_t)lower_start - minimum : 1U;
		return clamp_permille(-(((int32_t)lower_start - raw) * 1000 /
					(int32_t)span));
	}

	return 0;
}

bool mw_axis_is_neutral(int16_t x_permille, int16_t y_permille,
			uint16_t neutral_limit_permille)
{
	int32_t x = x_permille;
	int32_t y = y_permille;

	if (x < 0) {
		x = -x;
	}
	if (y < 0) {
		y = -y;
	}

	return x <= neutral_limit_permille && y <= neutral_limit_permille;
}
```

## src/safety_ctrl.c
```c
/* SPDX-License-Identifier: Apache-2.0 */

#include <microwallaby/input_filter.h>
#include <microwallaby/safety_ctrl.h>

void mw_safety_ctrl_init(struct mw_safety_ctrl *ctx)
{
	*ctx = (struct mw_safety_ctrl){0};
	ctx->clear_press_started_ms = -1;
}

static void reset_clear_handshake(struct mw_safety_ctrl *ctx)
{
	ctx->clear_press_started_ms = -1;
	ctx->clear_hold_ms = 0;
	ctx->clear_release_seen = false;
}

static void latch_fault(struct mw_safety_ctrl *ctx, enum mw_fault_code fault)
{
	ctx->fault_latched = true;
	ctx->fault = fault;
	reset_clear_handshake(ctx);
}

struct mw_control_snapshot mw_safety_ctrl_step(struct mw_safety_ctrl *ctx,
						const struct mw_input_snapshot *input,
						int64_t now_ms)
{
	struct mw_control_snapshot output = {
		.source_sequence = input->sequence,
		.updated_ms = now_ms,
	};
	bool timestamp_valid = now_ms >= input->captured_ms;
	bool fresh = timestamp_valid && (now_ms - input->captured_ms) <= MW_INPUT_MAX_AGE_MS;
	bool neutral = mw_axis_is_neutral(input->joystick_x_permille,
					       input->joystick_y_permille,
					       MW_NEUTRAL_LIMIT_PERMILLE);
	bool desired_manual = input->joystick_present && !neutral;

	output.input_fresh = input->input_ok && fresh;
	if (input->profile == MW_FIXTURE_TOUCH_ANALOG) {
		desired_manual = input->touch_active;
	}

	if (!input->input_ok) {
		latch_fault(ctx, MW_FAULT_INPUT_UNAVAILABLE);
	} else if (!fresh) {
		latch_fault(ctx, MW_FAULT_INPUT_STALE);
	} else if (input->profile == MW_FIXTURE_COMBINED && input->touch_active) {
		latch_fault(ctx, MW_FAULT_TOUCH_ACTIVE);
	}

	if (ctx->fault_latched) {
		bool clear_conditions_safe = input->profile == MW_FIXTURE_COMBINED &&
					     output.input_fresh && !input->touch_active && neutral;

		if (!clear_conditions_safe) {
			reset_clear_handshake(ctx);
		} else if (!input->service_pressed) {
			/* A release after the fault arms the explicit recovery gesture. */
			ctx->clear_release_seen = true;
			ctx->clear_press_started_ms = -1;
			ctx->clear_hold_ms = 0;
		} else if (ctx->clear_release_seen) {
			if (ctx->clear_press_started_ms < 0) {
				ctx->clear_press_started_ms = now_ms;
			}

			if (now_ms < ctx->clear_press_started_ms) {
				reset_clear_handshake(ctx);
			} else {
				int64_t elapsed_ms = now_ms - ctx->clear_press_started_ms;

				ctx->clear_hold_ms = elapsed_ms < MW_CLEAR_HOLD_MS ?
						     (uint16_t)elapsed_ms : MW_CLEAR_HOLD_MS;
				if (elapsed_ms >= MW_CLEAR_HOLD_MS) {
					ctx->fault_latched = false;
					ctx->fault = MW_FAULT_NONE;
					reset_clear_handshake(ctx);
					output.just_cleared = true;
				}
			}
		}
	}

	output.fault_latched = ctx->fault_latched;
	output.fault = ctx->fault;
	output.clear_hold_ms = ctx->clear_hold_ms;
	output.manual_requested = output.input_fresh && !ctx->fault_latched && desired_manual;
	return output;
}

const char *mw_fault_name(enum mw_fault_code fault)
{
	switch (fault) {
	case MW_FAULT_NONE:
		return "NONE";
	case MW_FAULT_INPUT_UNAVAILABLE:
		return "INPUT_UNAVAILABLE";
	case MW_FAULT_INPUT_STALE:
		return "INPUT_STALE";
	case MW_FAULT_TOUCH_ACTIVE:
		return "TOUCH_ACTIVE";
	default:
		return "UNKNOWN";
	}
}
```

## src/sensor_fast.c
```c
/* SPDX-License-Identifier: Apache-2.0 */

#include <errno.h>

#include <zephyr/devicetree.h>
#include <zephyr/drivers/adc.h>
#include <zephyr/drivers/gpio.h>
#include <zephyr/kernel.h>
#include <zephyr/sys/util.h>

#include <microwallaby/app_store.h>
#include <microwallaby/diag_stats.h>
#include <microwallaby/input_filter.h>
#include <microwallaby/sensor_fast.h>

#define USER_NODE DT_PATH(zephyr_user)
#define TOUCH_NODE DT_ALIAS(mw_touch_d0)

#if !DT_NODE_EXISTS(TOUCH_NODE)
#error "The selected fixture overlay must define the mw-touch-d0 alias"
#endif

static const struct gpio_dt_spec touch_d0 = GPIO_DT_SPEC_GET(TOUCH_NODE, gpios);
static const struct adc_dt_spec adc_primary = ADC_DT_SPEC_GET_BY_IDX(USER_NODE, 0);

#if defined(CONFIG_MW_FIXTURE_COMBINED)
#define SERVICE_NODE DT_ALIAS(mw_joystick_sw)
#if !DT_NODE_EXISTS(SERVICE_NODE)
#error "Fixture A must define the mw-joystick-sw alias"
#endif
BUILD_ASSERT(CONFIG_MW_JOYSTICK_MIN < CONFIG_MW_JOYSTICK_CENTER,
	     "joystick minimum must be below center");
BUILD_ASSERT(CONFIG_MW_JOYSTICK_CENTER < CONFIG_MW_JOYSTICK_MAX,
	     "joystick center must be below maximum");
BUILD_ASSERT(CONFIG_MW_JOYSTICK_DEADZONE <
	     (CONFIG_MW_JOYSTICK_CENTER - CONFIG_MW_JOYSTICK_MIN),
	     "joystick dead-zone must fit below center");
BUILD_ASSERT(CONFIG_MW_JOYSTICK_DEADZONE <
	     (CONFIG_MW_JOYSTICK_MAX - CONFIG_MW_JOYSTICK_CENTER),
	     "joystick dead-zone must fit above center");
static const struct gpio_dt_spec service_sw = GPIO_DT_SPEC_GET(SERVICE_NODE, gpios);
static const struct adc_dt_spec adc_secondary = ADC_DT_SPEC_GET_BY_IDX(USER_NODE, 1);
static struct mw_debounce service_filter;
#endif

static struct mw_debounce touch_filter;
static uint32_t sample_sequence;
static bool hardware_ready;

static bool raw_level_is_active(const struct gpio_dt_spec *spec, int raw_level)
{
	bool active_low = (spec->dt_flags & GPIO_ACTIVE_LOW) != 0U;

	return active_low ? raw_level == 0 : raw_level != 0;
}

static int configure_adc_channel(const struct adc_dt_spec *spec)
{
	struct adc_channel_cfg channel = {
		.gain = ADC_GAIN_1,
		.reference = ADC_REF_INTERNAL,
		.acquisition_time = ADC_ACQ_TIME_DEFAULT,
		.channel_id = spec->channel_id,
		.differential = false,
	};

	return adc_channel_setup(spec->dev, &channel);
}

static int read_adc_channel(const struct adc_dt_spec *spec, uint16_t *value)
{
	struct adc_sequence sequence = {
		.channels = BIT(spec->channel_id),
		.buffer = value,
		.buffer_size = sizeof(*value),
		.resolution = CONFIG_MW_ADC_RESOLUTION,
	};

	return adc_read(spec->dev, &sequence);
}

int mw_sensor_fast_init(void)
{
	int ret;
	enum mw_fixture_profile profile = MW_FIXTURE_TOUCH_ANALOG;

#if defined(CONFIG_MW_FIXTURE_COMBINED)
	profile = MW_FIXTURE_COMBINED;
#endif
	mw_diag_stats_init(profile, k_uptime_get());
	hardware_ready = false;

	if (!gpio_is_ready_dt(&touch_d0)) {
		mw_diag_stats_record_error(MW_DIAG_ERROR_GPIO);
		return -ENODEV;
	}
	if (!device_is_ready(adc_primary.dev)) {
		mw_diag_stats_record_error(MW_DIAG_ERROR_ADC);
		return -ENODEV;
	}

	ret = gpio_pin_configure_dt(&touch_d0, GPIO_INPUT);
	if (ret < 0) {
		mw_diag_stats_record_error(MW_DIAG_ERROR_GPIO);
		return ret;
	}

	ret = configure_adc_channel(&adc_primary);
	if (ret < 0) {
		mw_diag_stats_record_error(MW_DIAG_ERROR_ADC);
		return ret;
	}

#if defined(CONFIG_MW_FIXTURE_COMBINED)
	if (!gpio_is_ready_dt(&service_sw)) {
		mw_diag_stats_record_error(MW_DIAG_ERROR_GPIO);
		return -ENODEV;
	}
	if (!device_is_ready(adc_secondary.dev)) {
		mw_diag_stats_record_error(MW_DIAG_ERROR_ADC);
		return -ENODEV;
	}

	/* The overlay supplies GPIO_PULL_UP. Keep this input in polling mode. */
	ret = gpio_pin_configure_dt(&service_sw, GPIO_INPUT);
	if (ret < 0) {
		mw_diag_stats_record_error(MW_DIAG_ERROR_GPIO);
		return ret;
	}

	ret = configure_adc_channel(&adc_secondary);
	if (ret < 0) {
		mw_diag_stats_record_error(MW_DIAG_ERROR_ADC);
		return ret;
	}
#endif

	hardware_ready = true;
	return 0;
}

int mw_sensor_fast_sample(struct mw_input_snapshot *snapshot)
{
	bool touch_changed;
	int touch_raw;
	int ret;

	mw_diag_stats_record_sample_attempt();
	if (snapshot == NULL) {
		mw_diag_stats_record_error(MW_DIAG_ERROR_INPUT);
		return -EINVAL;
	}

	*snapshot = (struct mw_input_snapshot){
		.sequence = ++sample_sequence,
		.captured_ms = k_uptime_get(),
#if defined(CONFIG_MW_FIXTURE_COMBINED)
		.profile = MW_FIXTURE_COMBINED,
		.joystick_present = true,
#else
		.profile = MW_FIXTURE_TOUCH_ANALOG,
		.touch_analog_present = true,
#endif
	};

	if (!hardware_ready) {
		mw_diag_stats_record_error(MW_DIAG_ERROR_INPUT);
		return -ENODEV;
	}

	touch_raw = gpio_pin_get_raw(touch_d0.port, touch_d0.pin);
	if (touch_raw < 0) {
		mw_stats_increment(MW_STAT_GPIO_ERROR);
		mw_diag_stats_record_error(MW_DIAG_ERROR_GPIO);
		return touch_raw;
	}
	snapshot->touch_raw_level = touch_raw != 0;
	snapshot->touch_active = mw_debounce_update(&touch_filter,
					     raw_level_is_active(&touch_d0, touch_raw),
					     CONFIG_MW_DEBOUNCE_SAMPLES,
					     &touch_changed);
	mw_diag_stats_record_touch(snapshot->touch_active, touch_changed,
				   snapshot->captured_ms);

	ret = read_adc_channel(&adc_primary, &snapshot->analog_primary);
	if (ret < 0) {
		mw_stats_increment(MW_STAT_ADC_ERROR);
		mw_diag_stats_record_error(MW_DIAG_ERROR_ADC);
		return ret;
	}
	mw_diag_stats_record_adc(MW_DIAG_ADC_PRIMARY, snapshot->analog_primary,
				 snapshot->touch_active, snapshot->captured_ms);

#if defined(CONFIG_MW_FIXTURE_COMBINED)
	bool service_changed;
	int service_raw = gpio_pin_get_raw(service_sw.port, service_sw.pin);

	if (service_raw < 0) {
		mw_stats_increment(MW_STAT_GPIO_ERROR);
		mw_diag_stats_record_error(MW_DIAG_ERROR_GPIO);
		return service_raw;
	}
	snapshot->service_raw_level = service_raw != 0;
	snapshot->service_pressed = mw_debounce_update(&service_filter,
						 raw_level_is_active(&service_sw, service_raw),
						 CONFIG_MW_DEBOUNCE_SAMPLES,
						 &service_changed);
	mw_diag_stats_record_service_switch(snapshot->service_pressed, service_changed,
					    snapshot->captured_ms);

	/* The Ameba ADC driver supports one channel per adc_read(). */
	ret = read_adc_channel(&adc_secondary, &snapshot->analog_secondary);
	if (ret < 0) {
		mw_stats_increment(MW_STAT_ADC_ERROR);
		mw_diag_stats_record_error(MW_DIAG_ERROR_ADC);
		return ret;
	}
	mw_diag_stats_record_adc(MW_DIAG_ADC_SECONDARY, snapshot->analog_secondary,
				 snapshot->touch_active, snapshot->captured_ms);

	snapshot->joystick_x_permille = mw_axis_normalize(
		snapshot->analog_primary, CONFIG_MW_JOYSTICK_MIN,
		CONFIG_MW_JOYSTICK_CENTER, CONFIG_MW_JOYSTICK_MAX,
		CONFIG_MW_JOYSTICK_DEADZONE);
	snapshot->joystick_y_permille = mw_axis_normalize(
		snapshot->analog_secondary, CONFIG_MW_JOYSTICK_MIN,
		CONFIG_MW_JOYSTICK_CENTER, CONFIG_MW_JOYSTICK_MAX,
		CONFIG_MW_JOYSTICK_DEADZONE);
#endif

	snapshot->input_ok = true;
	mw_diag_stats_record_sample_success();
	return 0;
}

const char *mw_fixture_name(enum mw_fixture_profile profile)
{
	return profile == MW_FIXTURE_COMBINED ? "combined" : "touch-analog";
}
```
